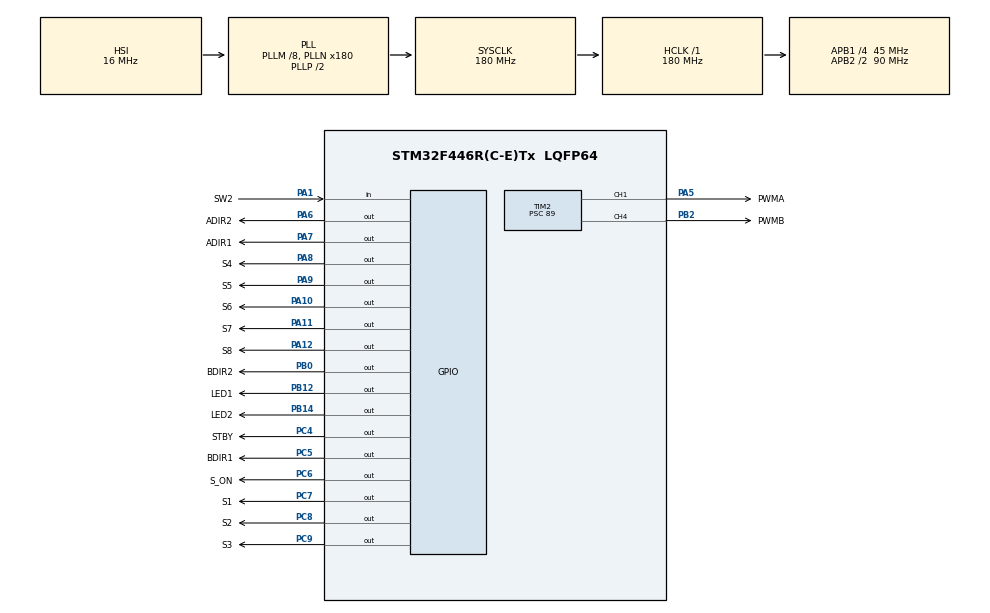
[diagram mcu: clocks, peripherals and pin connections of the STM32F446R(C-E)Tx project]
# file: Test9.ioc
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Mcu.Family=STM32F4
Mcu.Name=STM32F446R(C-E)Tx
Mcu.Package=LQFP64
NVIC.PriorityGroup=NVIC_PRIORITYGROUP_4
PA1.GPIO_Label=SW2
PA1.GPIO_PuPd=GPIO_PULLUP
PA1.Signal=GPIO_Input
PA10.GPIO_Label=S6
PA10.Signal=GPIO_Output
PA11.GPIO_Label=S7
PA11.Signal=GPIO_Output
PA12.GPIO_Label=S8
PA12.Signal=GPIO_Output
PA5.GPIO_Label=PWMA
PA5.GPIO_Speed=GPIO_SPEED_FREQ_HIGH
PA5.Signal=S_TIM2_CH1_ETR
PA6.GPIO_Label=ADIR2
PA6.Signal=GPIO_Output
PA7.GPIO_Label=ADIR1
PA7.Signal=GPIO_Output
PA8.GPIO_Label=S4
PA8.Signal=GPIO_Output
PA9.GPIO_Label=S5
PA9.Signal=GPIO_Output
PB0.GPIO_Label=BDIR2
PB0.Signal=GPIO_Output
PB12.GPIO_Label=LED1
PB12.Signal=GPIO_Output
PB14.GPIO_Label=LED2
PB14.Signal=GPIO_Output
PB2.GPIO_Label=PWMB
PB2.GPIO_Speed=GPIO_SPEED_FREQ_HIGH
PB2.Signal=S_TIM2_CH4
PC4.GPIO_Label=STBY
PC4.Signal=GPIO_Output
PC5.GPIO_Label=BDIR1
PC5.Signal=GPIO_Output
PC6.GPIO_Label=S_ON
PC6.GPIO_Speed=GPIO_SPEED_FREQ_LOW
PC6.Signal=GPIO_Output
PC7.GPIO_Label=S1
PC7.Signal=GPIO_Output
PC8.GPIO_Label=S2
PC8.Signal=GPIO_Output
PC9.GPIO_Label=S3
PC9.Signal=GPIO_Output
ProjectManager.HeapSize=0x200
ProjectManager.StackSize=0x400
ProjectManager.TargetToolchain=STM32CubeIDE
RCC.AHBFreq_Value=180000000
RCC.APB1CLKDivider=RCC_HCLK_DIV4
RCC.APB1Freq_Value=45000000
RCC.APB1TimFreq_Value=90000000
RCC.APB2CLKDivider=RCC_HCLK_DIV2
RCC.APB2Freq_Value=90000000
RCC.APB2TimFreq_Value=180000000
RCC.CortexFreq_Value=180000000
RCC.HCLKFreq_Value=180000000
RCC.PLLM=8
RCC.PLLN=180
RCC.SYSCLKFreq_VALUE=180000000
RCC.SYSCLKSource=RCC_SYSCLKSOURCE_PLLCLK
RCC.USBFreq_Value=180000000
RCC.VCOOutputFreq_Value=360000000
SH.S_TIM2_CH1_ETR.0=TIM2_CH1,PWM Generation1 CH1
SH.S_TIM2_CH4.0=TIM2_CH4,PWM Generation4 CH4
TIM2.Channel-PWM\ Generation1\ CH1=TIM_CHANNEL_1
TIM2.Channel-PWM\ Generation4\ CH4=TIM_CHANNEL_4
TIM2.Period=99
TIM2.Prescaler=89
VP_TIM2_VS_ClockSourceINT.Mode=Internal
board=custom

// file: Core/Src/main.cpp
/* USER CODE BEGIN Header */
/**
  ******************************************************************************
  * @file           : main.c
  * @brief          : Main program body
  ******************************************************************************
  * @attention
  *
  * Copyright (c) 2026 STMicroelectronics.
  * All rights reserved.
  *
  * This software is licensed under terms that can be found in the LICENSE file
  * in the root directory of this software component.
  * If no LICENSE file comes with this software, it is provided AS-IS.
  *
  ******************************************************************************
  */
/* USER CODE END Header */
#include "motor.hpp"
#include "motors.hpp"
#include "sensors.hpp"

extern "C" {
#include "main.h"
#include "tim.h"
#include "gpio.h"
}

void SystemClock_Config(void);

int main(void)
{

  /* MCU Configuration--------------------------------------------------------*/

  /* Reset of all peripherals, Initializes the Flash interface and the Systick. */
  HAL_Init();

  /* USER CODE BEGIN Init */

    // Start PWM

  /* USER CODE END Init */

  /* Configure the system clock */
  SystemClock_Config();

  /* Initialize all configured peripherals */
  MX_GPIO_Init();
  MX_TIM2_Init();
  /* USER CODE BEGIN 2 */
  kc::Motor leftMotor(ADIR1_GPIO_Port, ADIR1_Pin, ADIR2_GPIO_Port, ADIR2_Pin, &htim2, TIM_CHANNEL_1);

  kc::Motor rightMotor(BDIR1_GPIO_Port, BDIR1_Pin, BDIR2_GPIO_Port, BDIR2_Pin, &htim2, TIM_CHANNEL_4);

  kc::Motors motors(leftMotor, rightMotor, STBY_GPIO_Port, STBY_Pin);

  motors.init();

  GPIO_TypeDef *qtr_ports[8] = {S1_GPIO_Port, S2_GPIO_Port, S3_GPIO_Port, S4_GPIO_Port, S5_GPIO_Port, S6_GPIO_Port, S7_GPIO_Port, S8_GPIO_Port};

  uint16_t qtr_pins[8] = {S1_Pin, S2_Pin, S3_Pin, S4_Pin, S5_Pin, S6_Pin, S7_Pin, S8_Pin};

  kc::Sensors sensors(qtr_ports, qtr_pins);

  sensors.init();

  /* USER CODE END 2 */

  /* Infinite loop */
  /* USER CODE BEGIN WHILE */
  uint8_t data[8];

  while(HAL_GPIO_ReadPin(SW2_GPIO_Port, SW2_Pin) == GPIO_PIN_SET){}

  HAL_Delay(1000);
  motors.run();

  while (1)
  {
	  sensors.read(data);

	  if(data[0] == 1 || data[1] == 1 || data[2] == 2 )
	  {
		  motors.setSpeed(10,0);
		  HAL_GPIO_WritePin(LED1_GPIO_Port, LED1_Pin, GPIO_PIN_SET);
		  HAL_GPIO_WritePin(LED2_GPIO_Port, LED2_Pin, GPIO_PIN_RESET);
	  }else if(data[5] == 1 || data[6] == 1 || data[7] == 1 )
	  {
		  motors.setSpeed(0,10);
		  HAL_GPIO_WritePin(LED2_GPIO_Port, LED2_Pin, GPIO_PIN_SET);
		  HAL_GPIO_WritePin(LED1_GPIO_Port, LED1_Pin, GPIO_PIN_RESET);
	  }else{
		  motors.setSpeed(10,10);
		  HAL_GPIO_WritePin(LED2_GPIO_Port, LED2_Pin, GPIO_PIN_SET);
		  HAL_GPIO_WritePin(LED1_GPIO_Port, LED1_Pin, GPIO_PIN_SET);
	  }
      HAL_Delay(1);

    /* USER CODE END WHILE */

  }
}

void SystemClock_Config(void)
{
  RCC_OscInitTypeDef RCC_OscInitStruct = {0};
  RCC_ClkInitTypeDef RCC_ClkInitStruct = {0};

  /** Configure the main internal regulator output voltage
  */
  __HAL_RCC_PWR_CLK_ENABLE();
  __HAL_PWR_VOLTAGESCALING_CONFIG(PWR_REGULATOR_VOLTAGE_SCALE1);

  /** Initializes the RCC Oscillators according to the specified parameters
  * in the RCC_OscInitTypeDef structure.
  */
  RCC_OscInitStruct.OscillatorType = RCC_OSCILLATORTYPE_HSI;
  RCC_OscInitStruct.HSIState = RCC_HSI_ON;
  RCC_OscInitStruct.HSICalibrationValue = RCC_HSICALIBRATION_DEFAULT;
  RCC_OscInitStruct.PLL.PLLState = RCC_PLL_ON;
  RCC_OscInitStruct.PLL.PLLSource = RCC_PLLSOURCE_HSI;
  RCC_OscInitStruct.PLL.PLLM = 8;
  RCC_OscInitStruct.PLL.PLLN = 180;
  RCC_OscInitStruct.PLL.PLLP = RCC_PLLP_DIV2;
  RCC_OscInitStruct.PLL.PLLQ = 2;
  RCC_OscInitStruct.PLL.PLLR = 2;
  if (HAL_RCC_OscConfig(&RCC_OscInitStruct) != HAL_OK)
  {
    Error_Handler();
  }

  /** Activate the Over-Drive mode
  */
  if (HAL_PWREx_EnableOverDrive() != HAL_OK)
  {
    Error_Handler();
  }

  /** Initializes the CPU, AHB and APB buses clocks
  */
  RCC_ClkInitStruct.ClockType = RCC_CLOCKTYPE_HCLK|RCC_CLOCKTYPE_SYSCLK
                              |RCC_CLOCKTYPE_PCLK1|RCC_CLOCKTYPE_PCLK2;
  RCC_ClkInitStruct.SYSCLKSource = RCC_SYSCLKSOURCE_PLLCLK;
  RCC_ClkInitStruct.AHBCLKDivider = RCC_SYSCLK_DIV1;
  RCC_ClkInitStruct.APB1CLKDivider = RCC_HCLK_DIV4;
  RCC_ClkInitStruct.APB2CLKDivider = RCC_HCLK_DIV2;

  if (HAL_RCC_ClockConfig(&RCC_ClkInitStruct, FLASH_LATENCY_5) != HAL_OK)
  {
    Error_Handler();
  }
}

void Error_Handler(void)
{
  __disable_irq();
  while (1)
  {
  }
}
